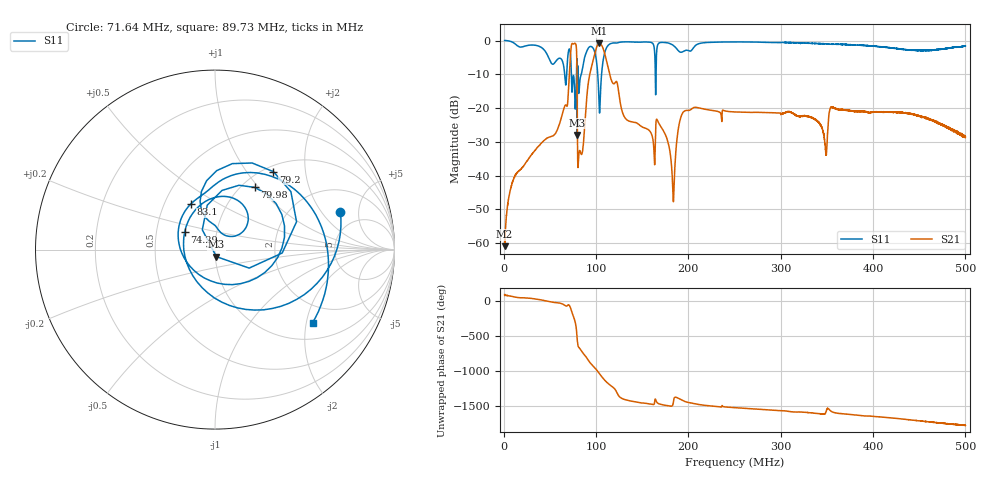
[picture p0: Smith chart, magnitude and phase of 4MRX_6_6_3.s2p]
! NanoVNA-App
! Date: 2026-08-19 17:56:44
! Start: 1MHz Stop: 500MHz Points: 6401
! S-Parameter data: F S11 S21 S12 S22
# Hz S RI R 50
!  Frequency  S11_Real  S11_Imag  S21_Real  S21_Imag  S12_Real  S12_Imag  S22_Real  S22_Imag
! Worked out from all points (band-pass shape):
!   6401 points, 1 MHz to 500 MHz, reference 50 ohm
!   highest |S21| = -0.81 dB at 103.7 MHz (marker M1); lowest = -60.9 dB at 1 MHz (marker M2)
!   |S21| within 3 dB of the highest: 72.45 MHz to 78.99 MHz (6.537 MHz wide, 8.63 % of centre); 98.74 MHz to 109.3 MHz (10.58 MHz wide, 10.2 % of centre)
!   lowest |S11| = -28.0 dB at 79.59 MHz (marker M3), VSWR 1.08, Z = 50.6 - j3.97 ohm
!   |S11| at or under -10 dB: 73.29 MHz to 78.79 MHz (5.499 MHz wide, 7.23 % of centre); 80.65 MHz to 84.01 MHz (3.357 MHz wide, 4.08 % of centre); 101.9 MHz to 106 MHz (4.149 MHz wide, 3.99 % of centre)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
!   S12 and S22 are empty: the file has one direction only
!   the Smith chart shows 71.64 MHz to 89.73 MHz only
!   S11 on the Smith chart (normalised r, x): 71.64 MHz: 3.51, +3.10; 74.29 MHz: 0.70, +0.14; 79.2 MHz: 1.10, +1.35; 79.98 MHz: 1.14, +0.95; 83.1 MHz: 0.68, +0.37; 89.73 MHz: 1.44, -2.18
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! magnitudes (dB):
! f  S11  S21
! 1 MHz  0.0  -60.9
! 10.75 MHz  -0.7  -41.0
! 57.22 MHz  -5.9  -27.0
! 71.64 MHz  -2.7  -7.2
! 74.29 MHz  -14.2  -0.9
! 79.2 MHz  -5.3  -6.2
! 79.59 MHz  -28.0  -16.4
! 79.98 MHz  -7.7  -32.1
! 83.1 MHz  -10.8  -33.1
! 84.19 MHz  -9.8  -33.7
! 89.73 MHz  -3.4  -17.6
! 103.7 MHz  -21.2  -0.8
! 111.9 MHz  -1.9  -6.8
! 131.9 MHz  -0.4  -23.1
! 167.4 MHz  -1.0  -24.2
! 183.4 MHz  -1.4  -46.3
! 195.1 MHz  -3.2  -21.0
! 250.5 MHz  -0.4  -21.2
! 333.7 MHz  -0.9  -22.9
! 348.4 MHz  -1.0  -32.2
! 416.9 MHz  -2.1  -21.2
! 500 MHz  -1.7  -28.5
